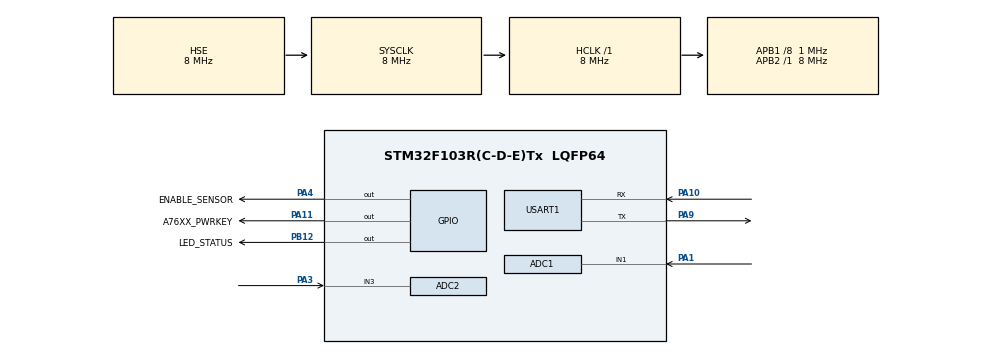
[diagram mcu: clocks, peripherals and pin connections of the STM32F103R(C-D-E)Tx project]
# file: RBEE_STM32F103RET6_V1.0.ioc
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ADC1.Channel-0\#ChannelRegularConversion=ADC_CHANNEL_1
ADC1.NbrOfConversionFlag=1
ADC1.Rank-0\#ChannelRegularConversion=1
ADC1.SamplingTime-0\#ChannelRegularConversion=ADC_SAMPLETIME_239CYCLES_5
ADC1.master=1
ADC2.Channel-1\#ChannelRegularConversion=ADC_CHANNEL_3
ADC2.NbrOfConversionFlag=1
ADC2.Rank-1\#ChannelRegularConversion=1
ADC2.SamplingTime-1\#ChannelRegularConversion=ADC_SAMPLETIME_239CYCLES_5
Mcu.Family=STM32F1
Mcu.Name=STM32F103R(C-D-E)Tx
Mcu.Package=LQFP64
NVIC.PriorityGroup=NVIC_PRIORITYGROUP_4
NVIC.TIM6_IRQn=true\:1\:0\:true\:false\:true\:true\:true\:true
NVIC.USART1_IRQn=true\:0\:0\:false\:false\:true\:true\:true\:true
PA1.Signal=ADCx_IN1
PA10.Mode=Asynchronous
PA10.Signal=USART1_RX
PA11.GPIO_Label=A76XX_PWRKEY
PA11.Signal=GPIO_Output
PA13.Mode=Trace_Asynchronous_SW
PA13.Signal=SYS_JTMS-SWDIO
PA14.Mode=Trace_Asynchronous_SW
PA14.Signal=SYS_JTCK-SWCLK
PA3.Signal=ADCx_IN3
PA4.GPIO_Label=ENABLE_SENSOR
PA4.Signal=GPIO_Output
PA9.Mode=Asynchronous
PA9.Signal=USART1_TX
PB12.GPIO_Label=LED_STATUS
PB12.Signal=GPIO_Output
PB3.Mode=Trace_Asynchronous_SW
PB3.Signal=SYS_JTDO-TRACESWO
PD0-OSC_IN.Mode=HSE-External-Oscillator
PD0-OSC_IN.Signal=RCC_OSC_IN
PD1-OSC_OUT.Mode=HSE-External-Oscillator
PD1-OSC_OUT.Signal=RCC_OSC_OUT
ProjectManager.HeapSize=0x200
ProjectManager.StackSize=0x400
ProjectManager.TargetToolchain=STM32CubeIDE
RCC.AHBFreq_Value=8000000
RCC.APB1CLKDivider=RCC_HCLK_DIV8
RCC.APB1Freq_Value=1000000
RCC.APB1TimFreq_Value=2000000
RCC.APB2Freq_Value=8000000
RCC.APB2TimFreq_Value=8000000
RCC.HCLKFreq_Value=8000000
RCC.PLLSourceVirtual=RCC_PLLSOURCE_HSE
RCC.SYSCLKFreq_VALUE=8000000
RCC.SYSCLKSource=RCC_SYSCLKSOURCE_HSE
RCC.USBFreq_Value=16000000
SH.ADCx_IN1.0=ADC1_IN1,IN1
SH.ADCx_IN3.0=ADC2_IN3,IN3
TIM6.Period=6666
TIM6.Prescaler=59999
USART1.VirtualMode=VM_ASYNC
VP_TIM6_VS_ClockSourceINT.Mode=Enable_Timer
board=custom

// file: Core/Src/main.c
/* USER CODE BEGIN Header */
/**
  ******************************************************************************
  * @file           : main.c
  * @brief          : Main program body
  ******************************************************************************
  * @attention
  *
  * Copyright (c) 2024 STMicroelectronics.
  * All rights reserved.
  *
  * This software is licensed under terms that can be found in the LICENSE file
  * in the root directory of this software component.
  * If no LICENSE file comes with this software, it is provided AS-IS.
  *
  ******************************************************************************
  */
/* USER CODE END Header */
#include "main.h"

/* USER CODE BEGIN Includes */
#include "cJSON.h"
#include "config.h"
#include "stdbool.h"
#include "stdio.h"
#include "stdlib.h"
#include "string.h"
#include <math.h>

/* USER CODE END Includes */

/* USER CODE BEGIN PD */
int _write(int file, char *ptr, int len) {

  int i;
  for (i = 0; i < len; i++) {
    ITM_SendChar(*ptr++);
  }
  return len;
}

/* USER CODE END PD */

ADC_HandleTypeDef hadc1;
ADC_HandleTypeDef hadc2;

TIM_HandleTypeDef htim6;

UART_HandleTypeDef huart1;

void SystemClock_Config(void);
static void MX_GPIO_Init(void);
static void MX_TIM6_Init(void);
static void MX_USART1_UART_Init(void);
static void MX_ADC2_Init(void);
static void MX_ADC1_Init(void);

/* USER CODE BEGIN 0 */
char at_command[300];
float signal_strength = 0;
int one_cycle;
int on_relay = 0;
int rssi = -99;

int is_pb_done = 0;
int payLoadPin;

char rx_buffer[150];
char rx_data_sim[150];
int previousTick;
int is_connect_simcom = 0;
int isConnectMQTT = 0;
float data_percentage_pin;
int update_status_to_server;
float float_sensor_pressre;
uint16_t frequency_1hz = 0;

bool is_fn_enable_mqtt = false;
bool is_fn_connect_mqtt = false;
bool is_fn_check_sim = false;
bool is_fn_subcribe_mqtt = false;
bool is_fn_publish_mqtt = false;
bool is_fn_acquier_mqtt = false;
bool is_fn_update_status = false;
uint8_t total_errors = 0;

uint32_t address = 0x0801FC00;
uint32_t data = 0x01;
uint32_t read_data = 3;
uint32_t value_page[4];
enum GmsModemState CurrentStatusSimcom = Off;
uint8_t check_error_internet;
uint8_t check_error_mqtt;
//tesst
float test;

void HAL_TIM_PeriodElapsedCallback(TIM_HandleTypeDef *htim) {
  if (htim->Instance == htim6.Instance) {
    if (CurrentStatusSimcom == Subscribed) {
      frequency_1hz++;
      if (frequency_1hz >= INTERVAL_PUPLISH_DATA) {
        update_status_to_server = 1;
        one_cycle++;
        frequency_1hz = 0;
      }
    }
  }
}

void fn_handle_state(enum GmsModemState status) {
  switch (status) {
  case Off: {
    enable_simcom();
    is_pb_done = event_wait_function();
    if (is_pb_done) {
      CurrentStatusSimcom = On;
      printf("Current status Simcom On \r\n");
    } else {
      NVIC_SystemReset();
    }
    break;
  }
  case On: {
    is_fn_check_sim = fn_check_signal_simcom();
    if (is_fn_check_sim) {
    	HAL_GPIO_WritePin(GPIOB, LED_STATUS_Pin, GPIO_PIN_RESET);
      total_errors = 0;
      CurrentStatusSimcom = InternetReady;
      printf("Current status Simcom Internet Ready\r\n");
    } else {
      total_errors++;
    }
    if (total_errors > 5) {
      restart_stm32();
    }
    break;
  }
  case InternetReady: {
    is_fn_enable_mqtt = enable_mqtt_on_gsm_modem();
    if (is_fn_enable_mqtt) {
      is_fn_acquier_mqtt = acquire_gsm_mqtt_client();
    }
    if (is_fn_acquier_mqtt) {
      is_fn_connect_mqtt = connect_mqtt_server_by_gsm();
    }
    if (is_fn_connect_mqtt) {
      total_errors = 0;
      CurrentStatusSimcom = MqttReady;
      printf("Current status Simcom MQTT Ready\r\n");
    } else
      total_errors++;
    if (total_errors > 5) {
      restart_stm32();
    }
    break;
  }
  case MqttReady: {
    is_fn_subcribe_mqtt = 1;
    if (is_fn_subcribe_mqtt) {
    	HAL_GPIO_WritePin(GPIOB, LED_STATUS_Pin, GPIO_PIN_SET);
      total_errors = 0;
      CurrentStatusSimcom = Subscribed;
      printf("Current status Simcom Subscribed \r\n");
    } else
      total_errors++;
    if (total_errors > 5) {
      restart_stm32();
    }
    break;
  }
  case Subscribed: {
	  float_sensor_pressre = read_ss();
      is_fn_update_status = update_status();
      if (is_fn_update_status) {
    	  //stop_mqtt_via_gsm();
          CurrentStatusSimcom = SleepRbee;
//    	  HAL_Delay(500);
        total_errors = 0;
      } else {
        total_errors++;
        if (total_errors > 5) {
          stop_mqtt_via_gsm();
          CurrentStatusSimcom = On;
        }
      }

    break;
  }
  case SleepRbee: {
	  sleep_stm32();
  }
  default:
    printf("Case cannot be determined !\r\n");
  }
}
/* USER CODE END 0 */

int main(void)
{

  /* MCU Configuration--------------------------------------------------------*/

  /* Reset of all peripherals, Initializes the Flash interface and the Systick. */
  HAL_Init();

  /* Configure the system clock */
  SystemClock_Config();

  /* Initialize all configured peripherals */
  MX_GPIO_Init();
  MX_TIM6_Init();
  MX_USART1_UART_Init();
  MX_ADC2_Init();
  MX_ADC1_Init();
  /* USER CODE BEGIN 2 */
  printf("-----Welcome to Agriconnect-----\n");
  printf("-----Hello Rbee <3 -----\n");
  HAL_UARTEx_ReceiveToIdle_IT(&huart1, (uint8_t *)rx_buffer, 150);

  /* USER CODE END 2 */

  /* Infinite loop */
  while (1)
  {

    /* USER CODE BEGIN 3 */
	    fn_handle_state(CurrentStatusSimcom);
//	  test = read_ss();
  }
  /* USER CODE END 3 */
}

void SystemClock_Config(void)
{
  RCC_OscInitTypeDef RCC_OscInitStruct = {0};
  RCC_ClkInitTypeDef RCC_ClkInitStruct = {0};
  RCC_PeriphCLKInitTypeDef PeriphClkInit = {0};

  /** Initializes the RCC Oscillators according to the specified parameters
  * in the RCC_OscInitTypeDef structure.
  */
  RCC_OscInitStruct.OscillatorType = RCC_OSCILLATORTYPE_HSE;
  RCC_OscInitStruct.HSEState = RCC_HSE_ON;
  RCC_OscInitStruct.PLL.PLLState = RCC_PLL_NONE;
  if (HAL_RCC_OscConfig(&RCC_OscInitStruct) != HAL_OK)
  {
    Error_Handler();
  }

  /** Initializes the CPU, AHB and APB buses clocks
  */
  RCC_ClkInitStruct.ClockType = RCC_CLOCKTYPE_HCLK|RCC_CLOCKTYPE_SYSCLK
                              |RCC_CLOCKTYPE_PCLK1|RCC_CLOCKTYPE_PCLK2;
  RCC_ClkInitStruct.SYSCLKSource = RCC_SYSCLKSOURCE_HSE;
  RCC_ClkInitStruct.AHBCLKDivider = RCC_SYSCLK_DIV1;
  RCC_ClkInitStruct.APB1CLKDivider = RCC_HCLK_DIV8;
  RCC_ClkInitStruct.APB2CLKDivider = RCC_HCLK_DIV1;

  if (HAL_RCC_ClockConfig(&RCC_ClkInitStruct, FLASH_LATENCY_0) != HAL_OK)
  {
    Error_Handler();
  }
  PeriphClkInit.PeriphClockSelection = RCC_PERIPHCLK_ADC;
  PeriphClkInit.AdcClockSelection = RCC_ADCPCLK2_DIV2;
  if (HAL_RCCEx_PeriphCLKConfig(&PeriphClkInit) != HAL_OK)
  {
    Error_Handler();
  }
}

static void MX_ADC1_Init(void)
{

  ADC_ChannelConfTypeDef sConfig = {0};

  /** Common config
  */
  hadc1.Instance = ADC1;
  hadc1.Init.ScanConvMode = ADC_SCAN_DISABLE;
  hadc1.Init.ContinuousConvMode = DISABLE;
  hadc1.Init.DiscontinuousConvMode = DISABLE;
  hadc1.Init.ExternalTrigConv = ADC_SOFTWARE_START;
  hadc1.Init.DataAlign = ADC_DATAALIGN_RIGHT;
  hadc1.Init.NbrOfConversion = 1;
  if (HAL_ADC_Init(&hadc1) != HAL_OK)
  {
    Error_Handler();
  }

  /** Configure Regular Channel
  */
  sConfig.Channel = ADC_CHANNEL_1;
  sConfig.Rank = ADC_REGULAR_RANK_1;
  sConfig.SamplingTime = ADC_SAMPLETIME_239CYCLES_5;
  if (HAL_ADC_ConfigChannel(&hadc1, &sConfig) != HAL_OK)
  {
    Error_Handler();
  }

}

static void MX_ADC2_Init(void)
{

  ADC_ChannelConfTypeDef sConfig = {0};

  /** Common config
  */
  hadc2.Instance = ADC2;
  hadc2.Init.ScanConvMode = ADC_SCAN_DISABLE;
  hadc2.Init.ContinuousConvMode = DISABLE;
  hadc2.Init.DiscontinuousConvMode = DISABLE;
  hadc2.Init.ExternalTrigConv = ADC_SOFTWARE_START;
  hadc2.Init.DataAlign = ADC_DATAALIGN_RIGHT;
  hadc2.Init.NbrOfConversion = 1;
  if (HAL_ADC_Init(&hadc2) != HAL_OK)
  {
    Error_Handler();
  }

  /** Configure Regular Channel
  */
  sConfig.Channel = ADC_CHANNEL_3;
  sConfig.Rank = ADC_REGULAR_RANK_1;
  sConfig.SamplingTime = ADC_SAMPLETIME_239CYCLES_5;
  if (HAL_ADC_ConfigChannel(&hadc2, &sConfig) != HAL_OK)
  {
    Error_Handler();
  }

}

static void MX_TIM6_Init(void)
{

  TIM_MasterConfigTypeDef sMasterConfig = {0};

  htim6.Instance = TIM6;
  htim6.Init.Prescaler = 59999;
  htim6.Init.CounterMode = TIM_COUNTERMODE_UP;
  htim6.Init.Period = TIME_PERIOD;
  htim6.Init.AutoReloadPreload = TIM_AUTORELOAD_PRELOAD_DISABLE;
  if (HAL_TIM_Base_Init(&htim6) != HAL_OK)
  {
    Error_Handler();
  }
  sMasterConfig.MasterOutputTrigger = TIM_TRGO_RESET;
  sMasterConfig.MasterSlaveMode = TIM_MASTERSLAVEMODE_DISABLE;
  if (HAL_TIMEx_MasterConfigSynchronization(&htim6, &sMasterConfig) != HAL_OK)
  {
    Error_Handler();
  }

}

static void MX_USART1_UART_Init(void)
{

  huart1.Instance = USART1;
  huart1.Init.BaudRate = 115200;
  huart1.Init.WordLength = UART_WORDLENGTH_8B;
  huart1.Init.StopBits = UART_STOPBITS_1;
  huart1.Init.Parity = UART_PARITY_NONE;
  huart1.Init.Mode = UART_MODE_TX_RX;
  huart1.Init.HwFlowCtl = UART_HWCONTROL_NONE;
  huart1.Init.OverSampling = UART_OVERSAMPLING_16;
  if (HAL_UART_Init(&huart1) != HAL_OK)
  {
    Error_Handler();
  }

}

static void MX_GPIO_Init(void)
{
  GPIO_InitTypeDef GPIO_InitStruct = {0};

  /* GPIO Ports Clock Enable */
  __HAL_RCC_GPIOD_CLK_ENABLE();
  __HAL_RCC_GPIOA_CLK_ENABLE();
  __HAL_RCC_GPIOB_CLK_ENABLE();

  /*Configure GPIO pin Output Level */
  HAL_GPIO_WritePin(GPIOA, ENABLE_SENSOR_Pin|A76XX_PWRKEY_Pin, GPIO_PIN_RESET);

  /*Configure GPIO pin Output Level */
  HAL_GPIO_WritePin(LED_STATUS_GPIO_Port, LED_STATUS_Pin, GPIO_PIN_RESET);

  /*Configure GPIO pins : ENABLE_SENSOR_Pin A76XX_PWRKEY_Pin */
  GPIO_InitStruct.Pin = ENABLE_SENSOR_Pin|A76XX_PWRKEY_Pin;
  GPIO_InitStruct.Mode = GPIO_MODE_OUTPUT_PP;
  GPIO_InitStruct.Pull = GPIO_NOPULL;
  GPIO_InitStruct.Speed = GPIO_SPEED_FREQ_LOW;
  HAL_GPIO_Init(GPIOA, &GPIO_InitStruct);

  /*Configure GPIO pin : LED_STATUS_Pin */
  GPIO_InitStruct.Pin = LED_STATUS_Pin;
  GPIO_InitStruct.Mode = GPIO_MODE_OUTPUT_PP;
  GPIO_InitStruct.Pull = GPIO_NOPULL;
  GPIO_InitStruct.Speed = GPIO_SPEED_FREQ_LOW;
  HAL_GPIO_Init(LED_STATUS_GPIO_Port, &GPIO_InitStruct);

}

void Error_Handler(void)
{
  __disable_irq();
  while (1)
  {
  }
}
